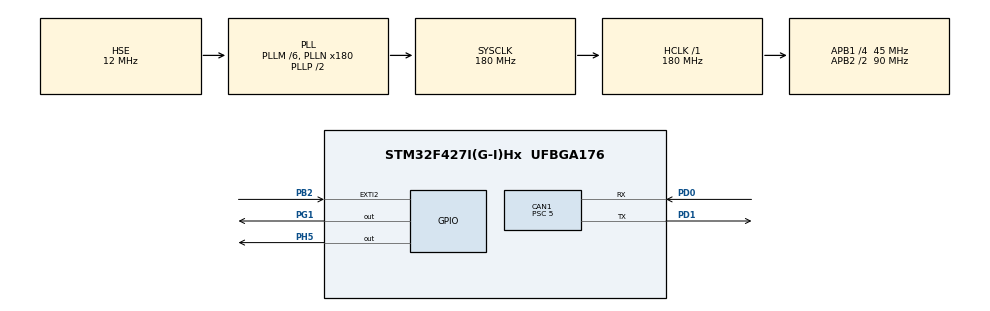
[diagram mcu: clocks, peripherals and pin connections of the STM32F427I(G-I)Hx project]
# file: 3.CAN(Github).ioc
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CAN1.ABOM=ENABLE
CAN1.AWUM=ENABLE
CAN1.BS1=CAN_BS1_3TQ
CAN1.BS2=CAN_BS2_5TQ
CAN1.CalculateBaudRate=1000000
CAN1.CalculateTimeBit=1000
CAN1.CalculateTimeQuantum=111.11111111111111
CAN1.Prescaler=5
Mcu.Family=STM32F4
Mcu.Name=STM32F427I(G-I)Hx
Mcu.Package=UFBGA176
NVIC.CAN1_RX0_IRQn=true\:0\:0\:false\:false\:true\:true\:true\:true
NVIC.EXTI2_IRQn=true\:0\:0\:false\:false\:true\:true\:true\:true
NVIC.PriorityGroup=NVIC_PRIORITYGROUP_4
PA13.Mode=Serial_Wire
PA13.Signal=SYS_JTMS-SWDIO
PA14.Mode=Serial_Wire
PA14.Signal=SYS_JTCK-SWCLK
PB2/BOOT1.Signal=GPXTI2
PC14/OSC32_IN.Mode=LSE-External-Oscillator
PC14/OSC32_IN.Signal=RCC_OSC32_IN
PC15/OSC32_OUT.Mode=LSE-External-Oscillator
PC15/OSC32_OUT.Signal=RCC_OSC32_OUT
PD0.Mode=CAN_Activate
PD0.Signal=CAN1_RX
PD1.Mode=CAN_Activate
PD1.Signal=CAN1_TX
PG1.Signal=GPIO_Output
PH0/OSC_IN.Mode=HSE-External-Oscillator
PH0/OSC_IN.Signal=RCC_OSC_IN
PH1/OSC_OUT.Mode=HSE-External-Oscillator
PH1/OSC_OUT.Signal=RCC_OSC_OUT
PH5.PinState=GPIO_PIN_SET
PH5.Signal=GPIO_Output
ProjectManager.HeapSize=0x200
ProjectManager.StackSize=0x400
ProjectManager.TargetToolchain=MDK-ARM V5.32
RCC.48MHZClocksFreq_Value=90000000
RCC.AHBFreq_Value=180000000
RCC.APB1CLKDivider=RCC_HCLK_DIV4
RCC.APB1Freq_Value=45000000
RCC.APB1TimFreq_Value=90000000
RCC.APB2CLKDivider=RCC_HCLK_DIV2
RCC.APB2Freq_Value=90000000
RCC.APB2TimFreq_Value=180000000
RCC.CortexFreq_Value=180000000
RCC.HCLKFreq_Value=180000000
RCC.HSE_VALUE=12000000
RCC.HSI_VALUE=16000000
RCC.PLLM=6
RCC.PLLN=180
RCC.PLLSourceVirtual=RCC_PLLSOURCE_HSE
RCC.SYSCLKFreq_VALUE=180000000
RCC.SYSCLKSource=RCC_SYSCLKSOURCE_PLLCLK
RCC.VCOOutputFreq_Value=360000000
board=custom

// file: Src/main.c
/* USER CODE BEGIN Header */
/**
 ******************************************************************************
 * @file           : main.c
 * @brief          : Main program body
 ******************************************************************************
 * @attention
 *
 * Copyright (c) 2024 STMicroelectronics.
 * All rights reserved.
 *
 * This software is licensed under terms that can be found in the LICENSE file
 * in the root directory of this software component.
 * If no LICENSE file comes with this software, it is provided AS-IS.
 *
 ******************************************************************************
 */
/* USER CODE END Header */
#include "main.h"
#include "can.h"
#include "gpio.h"

/* USER CODE BEGIN Includes */
#include <stdio.h>
#include <assert.h>
/* USER CODE END Includes */

/* USER CODE BEGIN PD */
#define CAN_C610_M1_ID 0x201
#define CAN_C610_M2_ID 0x202
#define CAN_C610_M3_ID 0x203
#define CAN_C610_M4_ID 0x204
#define CAN_C610_M5_ID 0x205
#define CAN_C610_M6_ID 0x206
#define CAN_C610_M7_ID 0x207
#define CAN_C610_M8_ID 0x208

/* USER CODE END PD */

void SystemClock_Config(void);

/* USER CODE BEGIN 0 */

extern CAN_TxHeaderTypeDef g_can1_txheader;
CAN_RxHeaderTypeDef g_can1_rxheader;
int16_t motor_speed = 0;
uint8_t motor_select = 0;
int16_t current_cont[4];

typedef struct
{
    uint16_t etid;  // Electric tuning ID
    int16_t mahr;   // Mechanical angle height of rotor
    int16_t speed;  // Rotor speed
    int16_t torque; // Actual output torque
} Motor_parameters;

Motor_parameters motor1[20];

void Get_Motor_Information(uint8_t motor_sel ,Motor_parameters *motor, uint8_t *data)     // 分解C610电调发送过来的数据
{
  assert(motor);
  assert(data);
  motor[motor_sel].etid = g_can1_rxheader.StdId;
  motor[motor_sel].mahr = (int16_t)(data[0]) << 8 | data[1];
  motor[motor_sel].speed = (data[2]) << 8 | data[3];
  motor[motor_sel].torque = (int16_t)(data[4]) << 8 | data[5];
}

void HAL_CAN_RxFifo0MsgPendingCallback(CAN_HandleTypeDef *hcan)
{
  if (hcan->Instance == CAN1)     // 判断是否为CAN1
  {
    uint8_t rx_data[8];
    HAL_CAN_GetRxMessage(hcan, CAN_RX_FIFO0, &g_can1_rxheader, rx_data);

    // motor_select = g_can1_rxheader.StdId - 0x200;
    // Get_Motor_Information(motor_select, motor1, rx_data);
    // current_cont[0] = (motor_speed - motor1[motor_select].speed) * 10;
    // if(motor_select < 5)
    //     can_send_data(0X200, current_cont, motor_select);
    // else
    //     can_send_data(0X1FF, current_cont, motor_select);

    switch (g_can1_rxheader.StdId)
    {
        case CAN_C610_M1_ID:
          motor_select = 0;
          Get_Motor_Information(motor_select, motor1, rx_data);
          current_cont[0] = (motor_speed - motor1[motor_select].speed) * 10;
          can_send_data(0X200, current_cont, motor_select);
        break;

        case CAN_C610_M2_ID:
          motor_select = 1;
          Get_Motor_Information(motor_select, motor1, rx_data);
          current_cont[0] = (motor_speed - motor1[motor_select].speed) * 10;
          can_send_data(0X200, current_cont, motor_select);
        break;

        case CAN_C610_M3_ID:
          motor_select = 2;
          Get_Motor_Information(motor_select, motor1, rx_data);
          current_cont[0] = (motor_speed - motor1[motor_select].speed) * 10;
          can_send_data(0X200, current_cont, motor_select);
        break;

        case CAN_C610_M4_ID:
          motor_select = 3;
          Get_Motor_Information(motor_select, motor1, rx_data);
          current_cont[0] = (motor_speed - motor1[motor_select].speed) * 10;
          can_send_data(0X200, current_cont, motor_select);
        break;

        case CAN_C610_M5_ID:
          motor_select = 4;
          Get_Motor_Information(motor_select, motor1, rx_data);
          current_cont[0] = (motor_speed - motor1[motor_select].speed) * 10;
          can_send_data(0X1FF, current_cont, motor_select);
        break;

        case CAN_C610_M6_ID:
          motor_select = 5;
          Get_Motor_Information(motor_select, motor1, rx_data);
          current_cont[0] = (motor_speed - motor1[motor_select].speed) * 10;
          can_send_data(0X1FF, current_cont, motor_select);
        break;

        case CAN_C610_M7_ID:
          motor_select = 6;
          Get_Motor_Information(motor_select, motor1, rx_data);
          current_cont[0] = (motor_speed - motor1[motor_select].speed) * 10;
          can_send_data(0X1FF, current_cont, motor_select);
        break;

        case CAN_C610_M8_ID:
          motor_select = 7;
          Get_Motor_Information(motor_select, motor1, rx_data);
          current_cont[0] = (motor_speed - motor1[motor_select].speed) * 10;
          can_send_data(0X1FF, current_cont, motor_select);
        break;
    }
  }
}

void HAL_GPIO_EXTI_Callback(uint16_t GPIO_Pin)
{
	if(GPIO_Pin == GPIO_PIN_2)
	{
		motor_speed += 500;
	}
}

/* USER CODE END 0 */

int main(void)
{

  /* MCU Configuration--------------------------------------------------------*/

  /* Reset of all peripherals, Initializes the Flash interface and the Systick. */
  HAL_Init();

  /* Configure the system clock */
  SystemClock_Config();

  /* Initialize all configured peripherals */
  MX_GPIO_Init();
  MX_CAN1_Init();
  /* USER CODE BEGIN 2 */
  //HAL_CAN_ActivateNotification(&hcan1, CAN_IT_RX_FIFO0_MSG_PENDING);

  /* USER CODE END 2 */

  /* Infinite loop */
  while (1)
  {

  }
}

void SystemClock_Config(void)
{
  RCC_OscInitTypeDef RCC_OscInitStruct = {0};
  RCC_ClkInitTypeDef RCC_ClkInitStruct = {0};

  /** Configure the main internal regulator output voltage
  */
  __HAL_RCC_PWR_CLK_ENABLE();
  __HAL_PWR_VOLTAGESCALING_CONFIG(PWR_REGULATOR_VOLTAGE_SCALE1);

  /** Initializes the RCC Oscillators according to the specified parameters
  * in the RCC_OscInitTypeDef structure.
  */
  RCC_OscInitStruct.OscillatorType = RCC_OSCILLATORTYPE_HSE;
  RCC_OscInitStruct.HSEState = RCC_HSE_ON;
  RCC_OscInitStruct.PLL.PLLState = RCC_PLL_ON;
  RCC_OscInitStruct.PLL.PLLSource = RCC_PLLSOURCE_HSE;
  RCC_OscInitStruct.PLL.PLLM = 6;
  RCC_OscInitStruct.PLL.PLLN = 180;
  RCC_OscInitStruct.PLL.PLLP = RCC_PLLP_DIV2;
  RCC_OscInitStruct.PLL.PLLQ = 4;
  if (HAL_RCC_OscConfig(&RCC_OscInitStruct) != HAL_OK)
  {
    Error_Handler();
  }

  /** Activate the Over-Drive mode
  */
  if (HAL_PWREx_EnableOverDrive() != HAL_OK)
  {
    Error_Handler();
  }

  /** Initializes the CPU, AHB and APB buses clocks
  */
  RCC_ClkInitStruct.ClockType = RCC_CLOCKTYPE_HCLK|RCC_CLOCKTYPE_SYSCLK
                              |RCC_CLOCKTYPE_PCLK1|RCC_CLOCKTYPE_PCLK2;
  RCC_ClkInitStruct.SYSCLKSource = RCC_SYSCLKSOURCE_PLLCLK;
  RCC_ClkInitStruct.AHBCLKDivider = RCC_SYSCLK_DIV1;
  RCC_ClkInitStruct.APB1CLKDivider = RCC_HCLK_DIV4;
  RCC_ClkInitStruct.APB2CLKDivider = RCC_HCLK_DIV2;

  if (HAL_RCC_ClockConfig(&RCC_ClkInitStruct, FLASH_LATENCY_5) != HAL_OK)
  {
    Error_Handler();
  }
}

void Error_Handler(void)
{
  __disable_irq();
  while (1)
  {
  }
}
